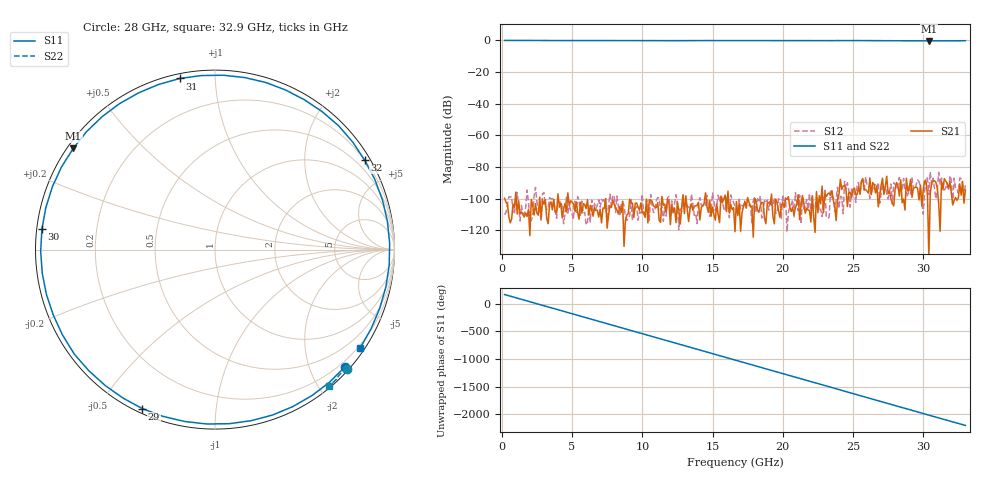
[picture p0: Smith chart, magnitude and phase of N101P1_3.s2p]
# GHZ S RI R 50
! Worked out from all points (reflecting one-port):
!   329 points, 200 MHz to 33 GHz, reference 50 ohm
!   lowest |S11| = -0.3 dB at 30.4 GHz (marker M1), VSWR 66.14, Z = 0.833 + j16 ohm
!   phase of S11 starts at 165 deg and turns -2367 deg over the sweep
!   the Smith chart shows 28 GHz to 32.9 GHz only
!   S11 on the Smith chart (normalised r, x): 28 GHz: 0.10, -2.60; 29 GHz: 0.02, -0.64; 30 GHz: 0.01, +0.06; 31 GHz: 0.02, +0.81; 32 GHz: 0.21, +3.61; 32.9 GHz: 0.13, -3.24
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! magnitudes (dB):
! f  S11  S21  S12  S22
! 200 MHz  0.0  -99.7  -110.2  0.0
! 5.7 GHz  -0.1  -109.1  -101.5  0.0
! 11.2 GHz  -0.2  -113.7  -99.8  -0.1
! 16.6 GHz  -0.1  -120.9  -104.9  0.0
! 20 GHz  -0.2  -102.6  -97.6  -0.1
! 22.1 GHz  -0.2  -98.2  -97.6  -0.1
! 22.6 GHz  -0.2  -98.1  -107.7  0.0
! 23 GHz  -0.2  -96.6  -94.7  0.0
! 23.4 GHz  -0.1  -98.0  -95.3  0.0
! 23.6 GHz  -0.2  -101.1  -99.1  0.0
! 23.9 GHz  -0.1  -100.0  -92.8  0.1
! 24 GHz  -0.1  -97.5  -106.1  0.0
! 25 GHz  -0.1  -94.3  -95.2  0.0
! 27.6 GHz  -0.2  -95.1  -94.9  0.0
! 28 GHz  -0.2  -93.7  -91.0  -0.1
! 29 GHz  -0.2  -93.5  -92.0  -0.1
! 30 GHz  -0.3  -94.3  -109.8  -0.2
! 30.4 GHz  -0.3  -137.0  -97.4  -0.1
! 31 GHz  -0.2  -93.4  -95.3  -0.1
! 32 GHz  -0.3  -96.6  -88.4  -0.1
! 32.9 GHz  -0.2  -102.9  -97.2  -0.1
! 33 GHz  -0.2  -94.5  -91.3  -0.1
